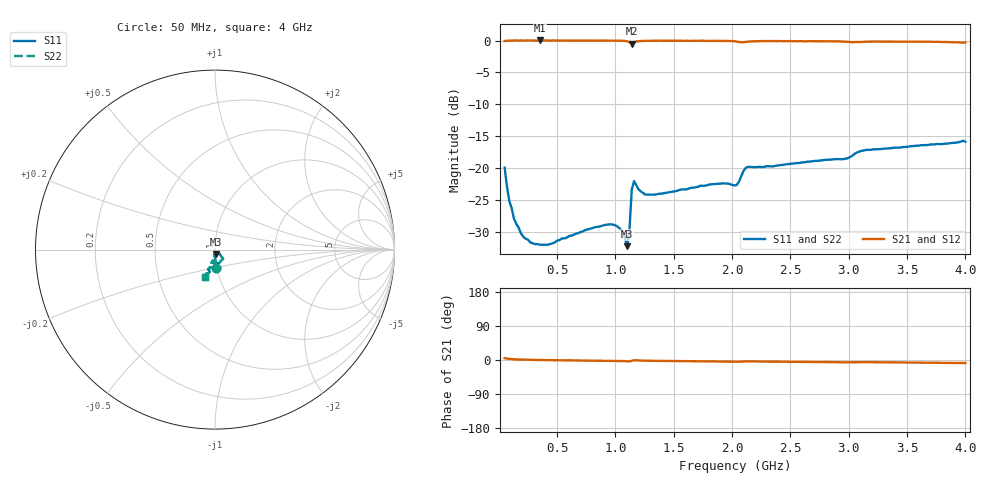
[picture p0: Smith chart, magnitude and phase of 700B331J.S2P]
!  American Technical Ceramics  Date:  3/13/98
!  One Norden Lane
!  Huntington Station,  NY.  11746-2102
!  Tel:  (516) 547-5700  Fax:  (516) 547-5748
!  Part Number  700B331J
!  Description: Porcelain, High Q, Low ESR
!  Application: Bypass, Coupling, Timing, Feedback
!  Tuning, Impedance Match, Blocking
# GHZ S DB R 50
! Freq  |S11|  S11 Ph  |S21|  S21 Ph  |S12|  S12 Ph  |S22|  S22 Ph
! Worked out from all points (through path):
!   201 points, 50 MHz to 4 GHz, reference 50 ohm
!   highest |S21| = 0.01 dB at 350 MHz (marker M1); lowest = -0.5 dB at 1.14 GHz (marker M2)
!   group delay of S21, straight-line fit = 6.04 ps
!   lowest |S11| = -32.2 dB at 1.1 GHz (marker M3), VSWR 1.05, Z = 50.6 - j2.41 ohm
!   |S11| at or under -10 dB: start of sweep to end of sweep
!   |S22| runs from -32.2 to -15.7 dB; largest |S21 - S12| = 0
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0.05  -19.88 -87.1  -0.08 5.0  -0.08 5.0  -19.88 -87.1
0.09  -25.10 -89.0  -0.01 2.8  -0.01 2.8  -25.10 -89.0
0.15  -28.70 -90.2  0.01 1.7  0.01 1.7  -28.70 -90.2
0.21  -30.70 -89.9  -0.01 1.0  -0.01 1.0  -30.70 -89.9
0.35  -31.94 -90.6  0.01 0.1  0.01 0.1  -31.94 -90.6
0.72  -29.88 -95.5  -0.01 -1.3  -0.01 -1.3  -29.88 -95.5
1  -28.92 -98.2  -0.02 -2.3  -0.02 -2.3  -28.92 -98.2
1.06  -29.92 -95.7  -0.04 -2.8  -0.04 -2.8  -29.92 -95.7
1.1  -32.18 -75.6  -0.11 -3.5  -0.11 -3.5  -32.18 -75.6
1.12  -29.74 -42.2  -0.26 -3.8  -0.26 -3.8  -29.74 -42.2
1.14  -23.30 -48.7  -0.50 -2.3  -0.50 -2.3  -23.30 -48.7
1.16  -21.99 -75.2  -0.30 -0.6  -0.30 -0.6  -21.99 -75.2
1.25  -24.08 -97.3  -0.05 -1.9  -0.05 -1.9  -24.08 -97.3
1.37  -23.99 -100.3  -0.03 -2.3  -0.03 -2.3  -23.99 -100.3
1.81  -22.52 -103.9  -0.05 -3.6  -0.05 -3.6  -22.52 -103.9
2.03  -22.67 -99.3  -0.13 -4.6  -0.13 -4.6  -22.67 -99.3
2.14  -19.76 -98.7  -0.17 -3.6  -0.17 -3.6  -19.76 -98.7
2.7  -18.85 -108.5  -0.11 -5.1  -0.11 -5.1  -18.85 -108.5
2.97  -18.51 -106.5  -0.19 -6.0  -0.19 -6.0  -18.51 -106.5
3.11  -17.27 -106.4  -0.23 -5.7  -0.23 -5.7  -17.27 -106.4
3.35  -16.88 -110.0  -0.18 -6.2  -0.18 -6.2  -16.88 -110.0
4  -15.84 -109.4  -0.30 -8.0  -0.30 -8.0  -15.84 -109.4
